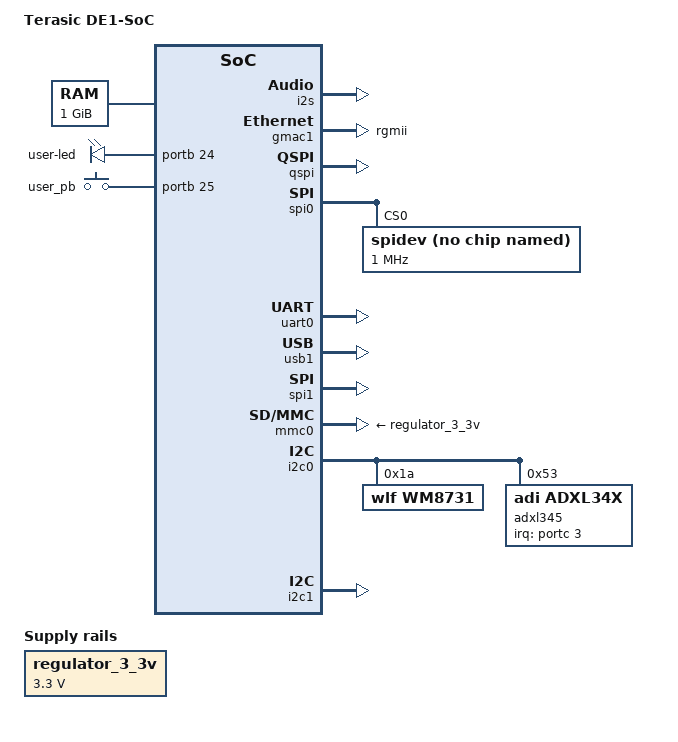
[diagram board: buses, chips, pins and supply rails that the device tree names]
/*
 *  Copyright (C) 2013 Steffen Trumtrar <s.trumtrar@pengutronix.de>
 *  Copyright (C) 2016 Stephen Arnold <nerdboy@gentoo.org>
 *
 * This program is free software; you can redistribute it and/or modify
 * it under the terms of the GNU General Public License as published by
 * the Free Software Foundation; either version 2 of the License, or
 * (at your option) any later version.
 *
 * This program is distributed in the hope that it will be useful,
 * but WITHOUT ANY WARRANTY; without even the implied warranty of
 * MERCHANTABILITY or FITNESS FOR A PARTICULAR PURPOSE.  See the
 * GNU General Public License for more details.
 *
 * You should have received a copy of the GNU General Public License
 * along with this program.  If not, see <http://www.gnu.org/licenses/>.
 */

#include "socfpga_cyclone5.dtsi"
#include <dt-bindings/interrupt-controller/irq.h>

/ {
	model = "Terasic DE1-SoC";
	compatible = "altr,socfpga-cyclone5", "altr,socfpga";

	chosen {
		bootargs = "earlyprintk";
		stdout-path = "serial0:115200n8";
	};

	memory {
		name = "memory";
		device_type = "memory";
		reg = <0x0 0x40000000>; /* 1GB */
	};

	aliases {
		ethernet0 = &gmac1;
	};

	regulator_3_3v: 3-3-v-regulator {
		compatible = "regulator-fixed";
		regulator-name = "3.3V";
		regulator-min-microvolt = <3300000>;
		regulator-max-microvolt = <3300000>;
	};

	leds {
		compatible = "gpio-leds";
		user {
			label = "user-led";
			gpios = <&portb 24 0>;
			linux,default-trigger = "heartbeat";
		};
#if 0
		/* Always-on to enable HPS i2c */
		/* The alternative is to model it as a regulator for codec */
		i2c0mux {
			label = "i2c0-mux";
			gpios = <&portb 19 0>;
			linux,default-trigger = "default-on";
		};
#endif
	};

        gpio_keys {
		compatible = "gpio-keys";
		#address-cells = <1>;
		#size-cells = <0>;

		user_pb {
			label = "user_pb";
			gpios = <&portb 25 0>;
			linux,code = <28>;
			gpio-key,wakeup;
                };
        };

        sound {
	        compatible = "opencores,de1soc-wm8731-audio";
		i2s-controller = <&i2s>;
		audio-codec = <&adxl345>;
		//i2c-mux-gpio = <&portb 19 0>;
        };

	clk48: clk48 {
		compatible = "fixed-clock";
		#clock-cells = <0>;
		clock-frequency  = <24576000>;
		clock-output-names = "clk48";
	};

	clk44: clk44 {
		compatible = "fixed-clock";
		#clock-cells = <0>;
		clock-frequency  = <33868800>;
		clock-output-names = "clk44";
	};

	i2s: i2s@0 {
		#sound-dai-cells = <1>;
		compatible = "opencores,i2s";
		reg = <0xff200000 0x20>, <0xff200020 0x20>;
		clocks = <&clk44>, <&clk48>;
		clock-names = "clk44", "clk48";
		dmas = <&pdma 0>, <&pdma 1>;
		dma-names = "tx", "rx";
	};
#if 0
	seg7@20 {
		compatible = "dummy";
		reg = <0xff200020 0x20>;
	};
#endif

	vip2@100 {
		compatible = "altr,vip-frame-reader-1.0", "altr,vip-frame-reader-9.1";
		reg = <0xff200100 0x180>;
		max-width = <0x400>;
		max-height = <0x300>;
		mem-word-width = <0x80>;
		bits-per-color = <0x8>;
	};

	sysid@2000 {
		compatible = "altr,sysid-1.0";
		reg = <0xff202000 0x8>;
	};
#if 0
	led_pio@10040 {
		compatible = "altr,pio-1.0";
		reg = <0xff210040 0x10>;
		altr,gpio-bank-width = <10>;
		#gpio-cells = <1>;
		gpio-controller;
	};
	dipsw_pio@10080 {
		compatible = "altr,pio-1.0";
		reg = <0xff210080 0x10>;
		interrupts = <0 42 4>;
		altr,gpio-bank-width = <10>;
		altr,interrupt_type = <IRQ_TYPE_EDGE_BOTH>;
		#gpio-cells = <1>;
		gpio-controller;
		#interrupt-cells = <1>;
		interrupt-controller;
	};
	button_pio@100c0 {
		compatible = "altr,pio-1.0";
		reg = <0xff2100c0 0x10>;
		interrupts = <0 41 4>;
		altr,gpio-bank-width = <4>;
		altr,interrupt_type = <IRQ_TYPE_EDGE_FALLING>;
		#gpio-cells = <1>;
		gpio-controller;
		#interrupt-cells = <1>;
		interrupt-controller;
	};
	jtag_uart@20000 {
		compatible = "altr,juart-1.0";
		reg = <0xff220000 0x8>;
		interrupts = <0 40 4>;
	};
	/*
	fpgadma: fifo {
		#address-cells = <1>;
		#size-cells = <1>;
		compatible = "altr,fpga-dma";
		reg = <0xff200060 0x20>, <0xc0001000 0x10>;
		reg-names = "csr", "data";
		dmas = <&pdma 2 &pdma 3>;
		dma-names = "tx", "rx";
	};
	*/
#endif
};

&osc1 {
	clock-frequency = <25000000>;
};

&gmac1 {
	status = "okay";
	phy-mode = "rgmii";

	txd0-skew-ps = <0>; /* -420ps */
	txd1-skew-ps = <0>; /* -420ps */
	txd2-skew-ps = <0>; /* -420ps */
	txd3-skew-ps = <0>; /* -420ps */
	rxd0-skew-ps = <420>; /* 0ps */
	rxd1-skew-ps = <420>; /* 0ps */
	rxd2-skew-ps = <420>; /* 0ps */
	rxd3-skew-ps = <420>; /* 0ps */
	txen-skew-ps = <0>; /* -420ps */
	txc-skew-ps = <1860>; /* 960ps */
	rxdv-skew-ps = <420>; /* 0ps */
	rxc-skew-ps = <1680>; /* 780ps */

	max-frame-size = <3800>;
};

&gpio0 {
	status = "okay";
};

&gpio1 {
	status = "okay";
};

&gpio2 {
	status = "okay";
};

&qspi {
	status = "okay";
};

&spi0 {
	status = "okay";

	spidev@0 {
		/* spidev causes a WARN_ON() so spoof with DAC compat */
		compatible = "rohm,dh2228fv";
		reg = <0>;      /* chip select */
		spi-max-frequency = <1000000>;
		enable-dma = <1>;
	};
};

&uart0 {
	status = "okay";
};

&usb1 {
	status = "okay";
};

&spi1 {
	status = "okay";
};

&mmc0 {
	vmmc-supply = <&regulator_3_3v>;
	vqmmc-supply = <&regulator_3_3v>;
	status = "okay";
};

&i2c0 {
	status = "okay";
	//clock-frequency = <100000>;
	speed-mode = <0>;

	wm8731: wm8731@34 {
		#sound-dai-cells = <0>;
		compatible = "wlf,wm8731";
		reg = <0x1a>;
	};

	adxl345: adxl345@0 {
		compatible = "adi,adxl34x";
		reg = <0x53>;

		interrupt-parent = <&portc>;
		interrupts = <3 2>;
	};
};

&i2c1 {
	status = "okay";
	speed-mode = <0>;
};
